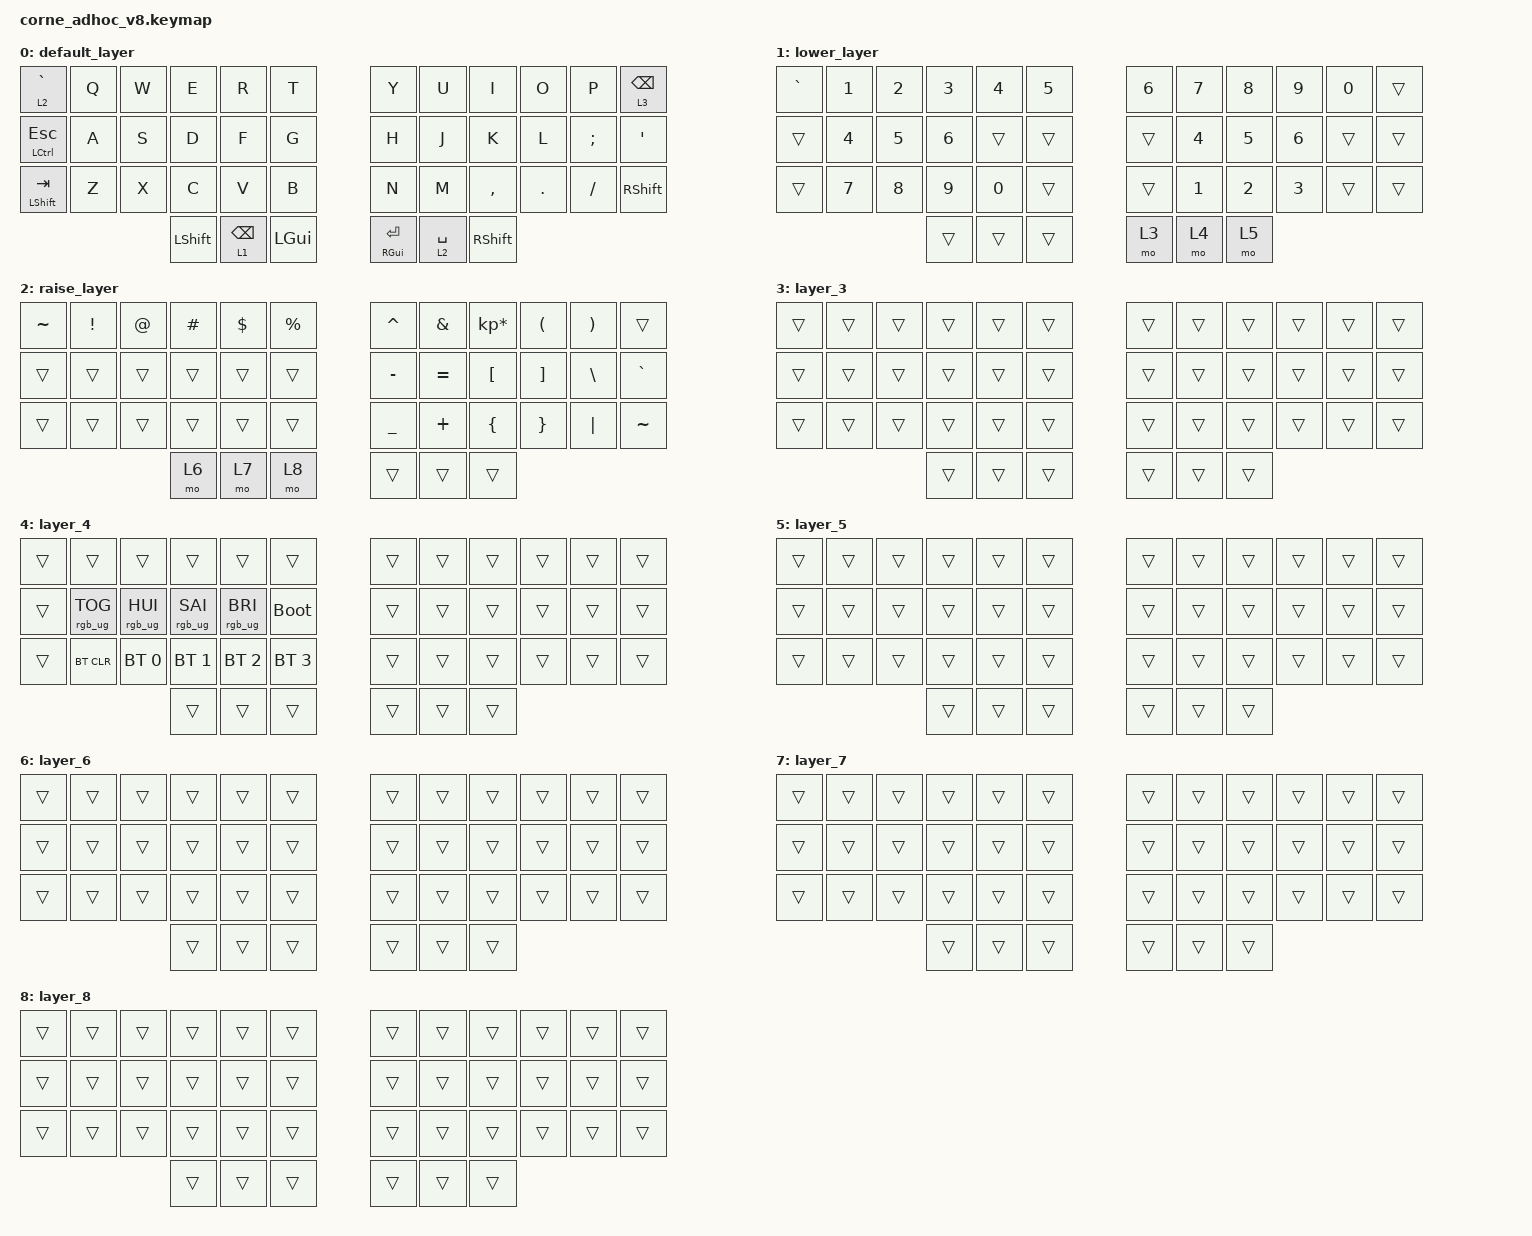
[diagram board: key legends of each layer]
/*
 * Copyright (c) 2020 The ZMK Contributors
 *
 * SPDX-License-Identifier: MIT
 *
 * Reference: https://zmk.dev/docs/keymaps/behaviors/key-press
 *
 */

#include <behaviors.dtsi>
#include <dt-bindings/zmk/keys.h>
#include <dt-bindings/zmk/bt.h>
#include <dt-bindings/zmk/rgb.h>

&led_strip {
    chain-length = <27>;
};

// Define the custom macro
// reference: https://zmk.dev/docs/keymaps/behaviors/macros
/ {
    macros {
        // switch input method
        macos_input: macos_input {
            compatible = "zmk,behavior-macro";
            #binding-cells = <0>;
            bindings
                = <&macro_press &kp LCTRL>
                , <&macro_press &kp LALT>
                , <&macro_tap &kp SPACE>
                , <&macro_release &kp LALT>
                , <&macro_release &kp LCTRL>
                ;
        };
        // alt_backspace ALT_BS
        alt_backspace: alt_backspace {
            compatible = "zmk,behavior-macro";
            #binding-cells = <0>;
            bindings
                = <&macro_press &kp LALT>
                , <&macro_tap &kp BSPC>
                , <&macro_release &kp LALT>
                ;
        };
        // MAC_SC
        macos_screenshot: macos_screenshot {
            compatible = "zmk,behavior-macro";
            #binding-cells = <0>;
            bindings
                = <&macro_press &kp LGUI>
                , <&macro_press &kp LCTRL>
                , <&macro_press &kp LSHFT>
                , <&macro_tap &kp N4>
                , <&macro_release &kp LSHFT>
                , <&macro_release &kp LCTRL>
                , <&macro_release &kp LGUI>
                ;
        };
        // MAC_SA
        macos_screenshot_with_annotation: macos_screenshot_with_annotation {
            compatible = "zmk,behavior-macro";
            #binding-cells = <0>;
            bindings
                = <&macro_press &kp LGUI>
                , <&macro_press &kp LSHFT>
                , <&macro_tap &kp N4>
                , <&macro_release &kp LSHFT>
                , <&macro_release &kp LGUI>
                ;
        };
        ctrl_alt_left: ctrl_alt_left {
            compatible = "zmk,behavior-macro";
            #binding-cells = <0>;
            bindings
                = <&macro_press &kp LCTRL>
                , <&macro_press &kp LALT>
                , <&macro_tap &kp LEFT>
                , <&macro_release &kp LALT>
                , <&macro_release &kp LCTRL>
                ;
        };
        ctrl_alt_right: ctrl_alt_right {
            compatible = "zmk,behavior-macro";
            #binding-cells = <0>;
            bindings
                = <&macro_press &kp LCTRL>
                , <&macro_press &kp LALT>
                , <&macro_tap &kp RIGHT>
                , <&macro_release &kp LALT>
                , <&macro_release &kp LCTRL>
                ;
        };
        ctrl_alt_up: ctrl_alt_up {
            compatible = "zmk,behavior-macro";
            #binding-cells = <0>;
            bindings
                = <&macro_press &kp LCTRL>
                , <&macro_press &kp LALT>
                , <&macro_tap &kp UP>
                , <&macro_release &kp LALT>
                , <&macro_release &kp LCTRL>
                ;
        };
        ctrl_alt_down: ctrl_alt_down {
            compatible = "zmk,behavior-macro";
            #binding-cells = <0>;
            bindings
                = <&macro_press &kp LCTRL>
                , <&macro_press &kp LALT>
                , <&macro_tap &kp DOWN>
                , <&macro_release &kp LALT>
                , <&macro_release &kp LCTRL>
                ;
        };
        ctrl_alt_enter: ctrl_alt_enter {
            compatible = "zmk,behavior-macro";
            #binding-cells = <0>;
            bindings
                = <&macro_press &kp LCTRL>
                , <&macro_press &kp LALT>
                , <&macro_tap &kp RET>
                , <&macro_release &kp LALT>
                , <&macro_release &kp LCTRL>
                ;
        };
        // cmd_grave
        cmd_grave: cmd_grave {
            compatible = "zmk,behavior-macro";
            #binding-cells = <0>;
            bindings
                = <&macro_press &kp LGUI>
                , <&macro_tap &kp GRAVE>
                , <&macro_release &kp LGUI>
                ;
        };
        // cmd_1
        cmd_1: cmd_1 {
            compatible = "zmk,behavior-macro";
            #binding-cells = <0>;
            bindings
                = <&macro_press &kp LGUI>
                , <&macro_tap &kp N1>
                , <&macro_release &kp LGUI>
                ;
        };
        // cmd_2
        cmd_2: cmd_2 {
            compatible = "zmk,behavior-macro";
            #binding-cells = <0>;
            bindings
                = <&macro_press &kp LGUI>
                , <&macro_tap &kp N2>
                , <&macro_release &kp LGUI>
                ;
        };
        // cmd_3
        cmd_3: cmd_3 {
            compatible = "zmk,behavior-macro";
            #binding-cells = <0>;
            bindings
                = <&macro_press &kp LGUI>
                , <&macro_tap &kp N3>
                , <&macro_release &kp LGUI>
                ;
        };
        // cmd_4
        cmd_4: cmd_4 {
            compatible = "zmk,behavior-macro";
            #binding-cells = <0>;
            bindings
                = <&macro_press &kp LGUI>
                , <&macro_tap &kp N4>
                , <&macro_release &kp LGUI>
                ;
        };
        // cmd_5
        cmd_5: cmd_5 {
            compatible = "zmk,behavior-macro";
            #binding-cells = <0>;
            bindings
                = <&macro_press &kp LGUI>
                , <&macro_tap &kp N5>
                , <&macro_release &kp LGUI>
                ;
        };
        // cmd_tab
        cmd_tab: cmd_tab {
            compatible = "zmk,behavior-macro";
            #binding-cells = <0>;
            bindings
                = <&macro_press &kp LGUI>
                , <&macro_tap &kp TAB>
                , <&macro_release &kp LGUI>
                ;
        };
    };
};

/ {
        keymap {
                compatible = "zmk,keymap";

                default_layer {
// -----------------------------------------------------------------------------------------
// | ` / RSE     | Q | W | E | R | T | | Y | U | I | O | P | BSPC / LWR |
// | ESC / LCTRL | A | S | D | F | G | | H | J | K | L | ; | '    |
// | TAB / LSHFT | Z | X | C | V | B | | N | M | , | . | / |RSHFT |
//                           | LSHFT| BSPC / LWR | LGUI | | ENT / RGUI | SPC / RSE | RSHFT|
                        bindings = <
   &lt 2 GRAVE   &kp Q &kp W     &kp E      &kp R    &kp T        &kp Y       &kp U     &kp I     &kp O   &kp P    &lt 3 BSPC
   &mt LCTRL ESC &kp A &kp S     &kp D      &kp F    &kp G        &kp H       &kp J     &kp K     &kp L   &kp SEMI &kp SQT
   &mt LSHFT TAB &kp Z &kp X     &kp C      &kp V    &kp B        &kp N       &kp M     &kp COMMA &kp DOT &kp FSLH &kp RSHFT
                       &kp LSHFT &lt 1 BSPC &kp LGUI &mt RGUI RET &lt 2 SPACE &kp RSHFT
                        >;
                };
                lower_layer {
// -----------------------------------------------------------------------------------------
// | ` | 1 | 2 | 3 | 4 | 5 |  | 6 | 7 | 8 | 9 | 0 |  |
// |   | 4 | 5 | 6 |   |   |  |   | 4 | 5 | 6 |   |  |
// |   | 7 | 8 | 9 | 0 |   |  |   | 1 | 2 | 3 |   |  |
//             |   |   |   |  |l3 |l4 |l5 |
                        bindings = <
   &kp GRAVE &kp N1 &kp N2 &kp N3 &kp N4 &kp N5 &kp N6 &kp N7 &kp N8 &kp N9 &kp N0 &trans
   &trans    &kp N4 &kp N5 &kp N6 &trans &trans &trans &kp N4 &kp N5 &kp N6 &trans &trans
   &trans    &kp N7 &kp N8 &kp N9 &kp N0 &trans &trans &kp N1 &kp N2 &kp N3 &trans &trans
                           &trans &trans &trans &mo 3  &mo 4  &mo 5
                        >;
                };
                raise_layer {
// -----------------------------------------------------------------------------------------
// | ~ | ! | @ | # | $ | % |   |  ^  |  &  |  *  |  (  |  )  |   |
// |   |   |   |   |   |   |   |  -  |  =  |  [  |  ]  |  \  | ` |
// |   |   |   |   |   |   |   |  _  |  +  |  {  |  }  | "|" | ~ |
//             | l6| l7| l8|   |     |     |     |
                        bindings = <
   &kp TILDE &kp EXCL &kp AT &kp HASH &kp DLLR &kp PRCNT &kp CARET &kp AMPS  &kp KP_MULTIPLY &kp LPAR &kp RPAR &trans
   &trans    &trans   &trans &trans   &trans   &trans    &kp MINUS &kp EQUAL &kp LBKT        &kp RBKT &kp BSLH &kp GRAVE
   &trans    &trans   &trans &trans   &trans   &trans    &kp UNDER &kp PLUS  &kp LBRC        &kp RBRC &kp PIPE &kp TILDE
                             &mo 6    &mo 7    &mo 8     &trans   &trans    &trans
                        >;
                };
                layer_3 {
// -----------------------------------------------------------------------------------------
// ||||||||||||||
// ||||||||||||||
// ||||||||||||||
//    ||||||||
                        bindings = <
   &trans &trans &trans &trans &trans &trans &trans &trans &trans &trans &trans &trans
   &trans &trans &trans &trans &trans &trans &trans &trans &trans &trans &trans &trans
   &trans &trans &trans &trans &trans &trans &trans &trans &trans &trans &trans &trans
                        &trans &trans &trans &trans &trans &trans
                        >;
                };
                layer_4 {
// -----------------------------------------------------------------------------------------
// | |       |       |       |       |       | | | | | | | |
// | |RGB_TOG|RGB_HUI|RGB_SAI|RGB_VAI|QK_BOOT| | | | | | | |
// | |BTCLR  | BT0   | BT1   |BT2    | BT3   | | | | | | | |
//                   |       |       |       | | | | |
                        bindings = <
   &trans &trans          &trans          &trans          &trans          &trans       &trans &trans &trans &trans &trans &trans
   &trans &rgb_ug RGB_TOG &rgb_ug RGB_HUI &rgb_ug RGB_SAI &rgb_ug RGB_BRI &bootloader  &trans &trans &trans &trans &trans &trans
   &trans &bt BT_CLR      &bt BT_SEL 0    &bt BT_SEL 1    &bt BT_SEL 2    &bt BT_SEL 3 &trans &trans &trans &trans &trans &trans
                                          &trans          &trans          &trans       &trans &trans &trans
                        >;
                };
                layer_5 {
// -----------------------------------------------------------------------------------------
// ||||||||||||||
// ||||||||||||||
// ||||||||||||||
//    ||||||||
                        bindings = <
   &trans &trans &trans &trans &trans &trans &trans &trans &trans &trans &trans &trans
   &trans &trans &trans &trans &trans &trans &trans &trans &trans &trans &trans &trans
   &trans &trans &trans &trans &trans &trans &trans &trans &trans &trans &trans &trans
                        &trans &trans &trans &trans &trans &trans
                        >;
                };
                layer_6 {
// -----------------------------------------------------------------------------------------
// ||||||||||||||
// ||||||||||||||
// ||||||||||||||
//    ||||||||
                        bindings = <
   &trans &trans &trans &trans &trans &trans &trans &trans &trans &trans &trans &trans
   &trans &trans &trans &trans &trans &trans &trans &trans &trans &trans &trans &trans
   &trans &trans &trans &trans &trans &trans &trans &trans &trans &trans &trans &trans
                        &trans &trans &trans &trans &trans &trans
                        >;
                };
                layer_7 {
// -----------------------------------------------------------------------------------------
// ||||||||||||||
// ||||||||||||||
// ||||||||||||||
//    ||||||||
                        bindings = <
   &trans &trans &trans &trans &trans &trans &trans &trans &trans &trans &trans &trans
   &trans &trans &trans &trans &trans &trans &trans &trans &trans &trans &trans &trans
   &trans &trans &trans &trans &trans &trans &trans &trans &trans &trans &trans &trans
                        &trans &trans &trans &trans &trans &trans
                        >;
                };
                layer_8 {
// -----------------------------------------------------------------------------------------
// ||||||||||||||
// ||||||||||||||
// ||||||||||||||
//    ||||||||
                        bindings = <
   &trans &trans &trans &trans &trans &trans &trans &trans &trans &trans &trans &trans
   &trans &trans &trans &trans &trans &trans &trans &trans &trans &trans &trans &trans
   &trans &trans &trans &trans &trans &trans &trans &trans &trans &trans &trans &trans
                        &trans &trans &trans &trans &trans &trans
                        >;
                };
        };
};
